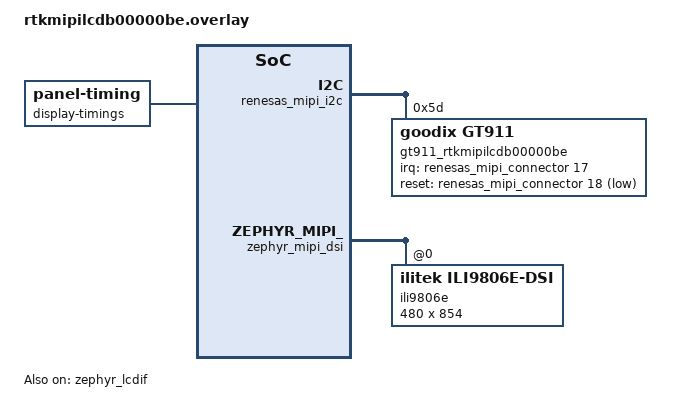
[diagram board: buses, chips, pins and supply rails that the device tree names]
/*
 * Copyright (c) 2024 Renesas Electronics Corporation
 *
 * SPDX-License-Identifier: Apache-2.0
 */

#include <zephyr/dt-bindings/display/panel.h>

/{
	chosen {
		zephyr,display = &zephyr_lcdif;
	};

	lvgl_pointer {
		compatible = "zephyr,lvgl-pointer-input";
		input = <&gt911_rtkmipilcdb00000be>;
	};
};

&renesas_mipi_i2c {
	status = "okay";
	gt911_rtkmipilcdb00000be: gt911-rtkmipilcdb00000be@5d {
		compatible = "goodix,gt911";
		reg = <0x5d>;
		irq-gpios = <&renesas_mipi_connector 17 GPIO_ACTIVE_HIGH>;
		reset-gpios = <&renesas_mipi_connector 18 GPIO_ACTIVE_LOW>;
	};
};

&zephyr_mipi_dsi {
	status = "okay";
	ili9806e: ili9806e@0 {
		status = "okay";
		compatible = "ilitek,ili9806e-dsi";
		reg = <0x0>;
		height = <854>;
		width = <480>;
		data-lanes = <2>;
		pixel-format = <MIPI_DSI_PIXFMT_RGB888>;
	};
};

&zephyr_lcdif {
	status = "okay";
	width = <480>;
	height = <854>;
	input-pixel-format = <PANEL_PIXEL_FORMAT_RGB_888>;
	output-pixel-format = <PANEL_PIXEL_FORMAT_RGB_888>;
	display-timings {
		compatible = "zephyr,panel-timing";
		hsync-len = <2>;
		hback-porch = <5>;
		vsync-len = <3>;
		vback-porch = <20>;
		hsync-active = <0>;
		vsync-active = <0>;
		de-active = <1>;
		pixelclk-active = <0>;
		hfront-porch = <72>;
		vfront-porch = <17>;
	};
	backlight-gpios = <&renesas_mipi_connector 15 GPIO_ACTIVE_HIGH>;
};
